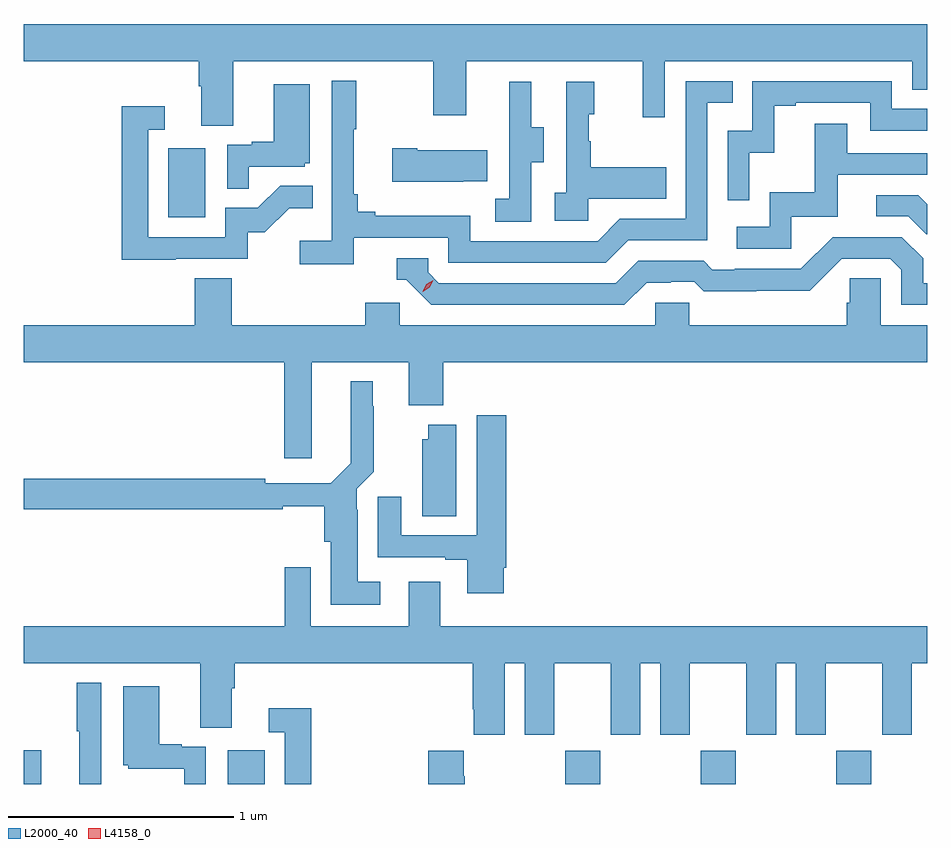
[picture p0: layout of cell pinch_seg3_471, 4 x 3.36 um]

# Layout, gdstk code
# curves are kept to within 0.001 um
import gdstk
lib = gdstk.Library(unit=1e-6, precision=1e-09)
def R(c, l, rs):  # rectangles x0, y0, x1, y1
    for r in rs: c.add(gdstk.rectangle(r[:2], r[2:], *l))
def A(c, l, x, y, w, h, nx, ny, dx, dy):  # array of equal rectangles
    R(c, l, [(x+i*dx, y+j*dy, x+i*dx+w, y+j*dy+h) for i in range(nx) for j in range(ny)])
def P(c, l, *ps):  # polygons
    for p in ps: c.add(gdstk.Polygon(p, *l))
L2000_40 = (2000, 40)
L4158_0 = (4158, 0)

pinch_seg3_471 = lib.new_cell('pinch_seg3_471')
A(pinch_seg3_471, L2000_40, 939.637, 677.737, 0.155, 0.147, 3, 1, 0.6, 0)
R(pinch_seg3_471, L2000_40, [(937.24,677.737,937.318,677.886), (938.144,677.737,938.308,677.887), (937.88,680.244,938.044,680.551)])
P(pinch_seg3_471, L2000_40, [(938.167,680.936),(939.052,680.936),(939.052,680.697),(939.199,680.697),(939.199,680.936),(939.98,680.936),(939.98,680.688),(940.077,680.688),(940.077,680.936),(941.172,680.936),(941.172,680.809),(941.24,680.809),(941.24,681.1),(937.24,681.1),(937.24,680.936),(938.015,680.936),(938.015,680.824),(938.027,680.824),(938.027,680.65),(938.167,680.65)],
  [(938.702,680.154),(939.12,680.154),(939.12,680.043),(939.817,680.043),(939.916,680.142),(940.266,680.142),(940.266,680.751),(940.379,680.751),(940.379,680.847),(940.17,680.847),(940.17,680.238),(939.879,680.238),(939.78,680.139),(939.216,680.139),(939.216,680.251),(938.797,680.251),(938.797,680.27),(938.72,680.27),(938.72,680.347),(938.701,680.347),(938.701,680.635),(938.713,680.635),(938.713,680.848),(938.604,680.848),(938.604,680.14),(938.463,680.14),(938.463,680.038),(938.702,680.038)],
  [(940.452,680.531),(940.562,680.531),(940.562,680.739),(940.657,680.739),(940.657,680.751),(940.986,680.751),(940.986,680.628),(941.24,680.628),(941.24,680.724),(941.082,680.724),(941.082,680.847),(940.464,680.847),(940.464,680.628),(940.356,680.628),(940.356,680.319),(940.452,680.319)],
  [(939.738,680.327),(940.085,680.327),(940.085,680.467),(939.751,680.467),(939.751,680.582),(939.741,680.582),(939.741,680.7),(939.766,680.7),(939.766,680.845),(939.642,680.845),(939.642,680.354),(939.591,680.354),(939.591,680.229),(939.738,680.229)],
  [(939.486,680.488),(939.541,680.488),(939.541,680.643),(939.487,680.643),(939.487,680.845),(939.389,680.845),(939.389,680.631),(939.39,680.631),(939.39,680.327),(939.327,680.327),(939.327,680.224),(939.486,680.224)],
  [(938.237,680.469),(938.484,680.469),(938.484,680.484),(938.506,680.484),(938.506,680.833),(938.348,680.833),(938.348,680.578),(938.249,680.578),(938.249,680.565),(938.142,680.565),(938.142,680.371),(938.237,680.371)],
  [(937.913,680.061),(938.232,680.061),(938.232,680.178),(938.308,680.178),(938.415,680.285),(938.519,680.285),(938.519,680.384),(938.375,680.384),(938.277,680.286),(938.133,680.286),(938.133,680.157),(937.791,680.157),(937.791,680.631),(937.864,680.631),(937.864,680.737),(937.675,680.737),(937.675,680.056),(937.913,680.056)],
  [(940.638,680.247),(940.843,680.247),(940.843,680.433),(941.24,680.433),(941.24,680.529),(940.885,680.529),(940.885,680.659),(940.741,680.659),(940.741,680.356),(940.542,680.356),(940.542,680.202),(940.395,680.202),(940.395,680.106),(940.638,680.106)],
  [(939.185,680.405),(939.293,680.405),(939.293,680.542),(938.983,680.542),(938.983,680.55),(938.871,680.55),(938.871,680.402),(939.185,680.402)],
  [(941.24,680.303),(941.2,680.343),(941.013,680.343),(941.013,680.25),(941.154,680.25),(941.234,680.17),(941.24,680.17)],
  [(939.997,679.956),(940.104,679.956),(940.104,679.959),(940.207,679.959),(940.249,679.917),(940.482,679.917),(940.482,679.919),(940.718,679.919),(940.86,680.061),(941.076,680.061),(941.124,680.013),(941.124,679.857),(941.24,679.857),(941.24,679.953),(941.221,679.953),(941.221,680.063),(941.127,680.157),(940.821,680.157),(940.68,680.016),(940.387,680.016),(940.387,680.013),(940.288,680.013),(940.249,680.052),(939.96,680.052),(939.861,679.953),(939.078,679.953),(939.03,680.001),(939.03,680.064),(938.891,680.064),(938.891,679.968),(938.934,679.968),(939.045,679.857),(939.898,679.857)],
  [(938.515,679.604),(938.945,679.604),(938.945,679.412),(939.098,679.412),(939.098,679.604),(941.24,679.604),(941.24,679.768),(941.034,679.768),(941.034,679.976),(940.897,679.976),(940.897,679.866),(940.883,679.866),(940.883,679.768),(940.185,679.768),(940.185,679.866),(940.035,679.866),(940.035,679.768),(938.904,679.768),(938.904,679.866),(938.753,679.866),(938.753,679.768),(938.162,679.768),(938.162,679.976),(937.997,679.976),(937.997,679.768),(937.24,679.768),(937.24,679.604),(938.393,679.604),(938.393,679.179),(938.515,679.179)],
  [(938.818,678.631),(938.719,678.631),(938.719,678.95),(938.715,678.95),(938.715,679.044),(938.789,679.118),(938.789,679.409),(938.785,679.409),(938.785,679.519),(938.687,679.519),(938.688,679.156),(938.6,679.068),(938.309,679.068),(938.309,679.088),(937.24,679.088),(937.24,678.952),(938.386,678.952),(938.386,678.967),(938.57,678.967),(938.57,678.81),(938.6,678.81),(938.6,678.53),(938.818,678.53)],
  [(939.364,678.694),(939.377,678.694),(939.377,679.369),(939.245,679.369),(939.245,678.837),(938.911,678.837),(938.911,679.009),(938.807,679.009),(938.807,678.741),(939.107,678.741),(939.107,678.729),(939.203,678.729),(939.203,678.582),(939.364,678.582)],
  [(939.154,679.327),(939.032,679.327),(939.032,679.263),(939.005,679.263),(939.005,678.922),(939.154,678.922)],
  [(939.37,678.272),(939.458,678.272),(939.458,677.955),(939.589,677.955),(939.589,678.272),(939.839,678.272),(939.839,677.955),(939.97,677.955),(939.97,678.272),(940.058,678.272),(940.058,677.955),(940.189,677.955),(940.189,678.272),(940.439,678.272),(940.439,677.955),(940.57,677.955),(940.57,678.272),(940.658,678.272),(940.658,677.955),(940.789,677.955),(940.789,678.272),(941.039,678.272),(941.039,677.955),(941.17,677.955),(941.17,678.272),(941.24,678.272),(941.24,678.436),(939.085,678.436),(939.085,678.631),(938.945,678.631),(938.945,678.436),(938.511,678.436),(938.511,678.697),(938.395,678.697),(938.395,678.436),(937.24,678.436),(937.24,678.272),(938.021,678.272),(938.021,677.986),(938.161,677.986),(938.161,678.16),(938.174,678.16),(938.174,678.272),(939.227,678.272),(939.227,678.067),(939.233,678.067),(939.233,677.955),(939.37,677.955)],
  [(937.584,678.184),(937.476,678.184),(937.476,677.971),(937.487,677.971),(937.487,677.737),(937.584,677.737)],
  [(938.046,677.901),(937.94,677.901),(937.94,677.914),(937.84,677.914),(937.84,678.169),(937.682,678.169),(937.682,677.82),(937.704,677.82),(937.704,677.805),(937.951,677.805),(937.951,677.737),(938.046,677.737)],
  [(938.513,678.073),(938.325,678.073),(938.325,677.967),(938.397,677.967),(938.397,677.737),(938.513,677.737)],
  [(939.192,677.771),(939.187,677.771),(939.187,677.884),(939.032,677.884),(939.032,677.737),(939.192,677.737)])
P(pinch_seg3_471, L4158_0, [(939.006,679.916),(939.006,679.916),(939.022,679.948),(939.053,679.967),(939.053,679.967),(939.053,679.967),(939.037,679.935),(939.006,679.916)])

lib.write_gds('pinch_seg3_471.gds')
